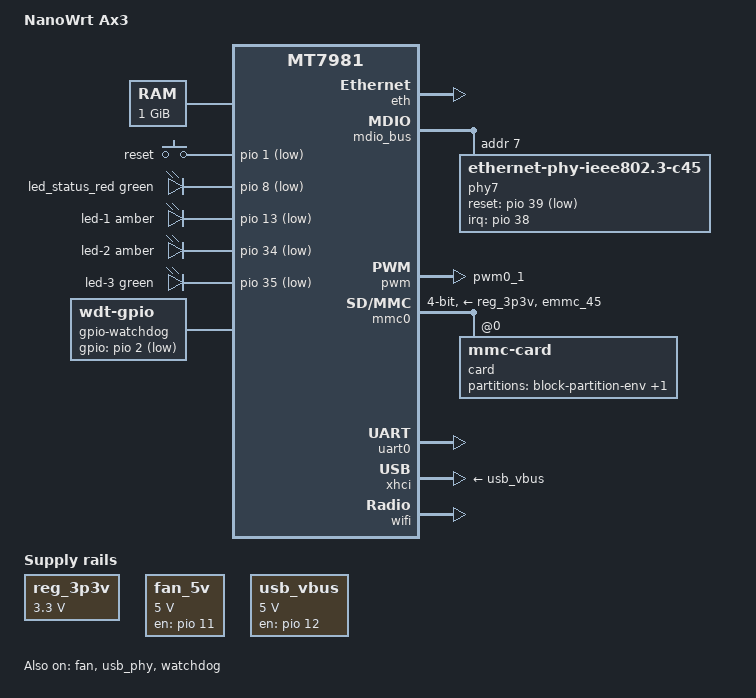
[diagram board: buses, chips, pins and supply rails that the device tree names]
// SPDX-License-Identifier: (GPL-2.0 OR MIT)

/dts-v1/;
#include "mt7981b.dtsi"

/ {
	model = "NanoWrt Ax3";
	compatible = "nanowrt,ax3", "mediatek,mt7981";

	aliases {
		ethernet0 = &gmac1;
		label-mac-device = &gmac0;
		led-boot = &led_status_white;
		led-failsafe = &led_status_red;
		led-running = &led_status_green;
		led-upgrade = &led_status_green;
		serial0 = &uart0;
	};

	chosen {
		stdout-path = "serial0:115200n8";
		rootdisk = <&sd_rootdisk>;
	};

	memory {
		reg = <0 0x40000000 0 0x40000000>;
	};

	gpio-keys {
		compatible = "gpio-keys";

		reset {
			label = "reset";
			linux,code = <KEY_RESTART>;
			gpios = <&pio 1 GPIO_ACTIVE_LOW>;
		};
	};

	gpio-leds {
		compatible = "gpio-leds";

		led_status_red: led-0 {
			color = <LED_COLOR_ID_RED>;
			function = LED_FUNCTION_STATUS;
			gpios = <&pio 5 GPIO_ACTIVE_LOW>;
		};

		led-0 {
			function = LED_FUNCTION_LAN;
			color = <LED_COLOR_ID_GREEN>;
			gpios = <&pio 8 GPIO_ACTIVE_LOW>;
		};

		led-1 {
			function = LED_FUNCTION_LAN;
			color = <LED_COLOR_ID_AMBER>;
			gpios = <&pio 13 GPIO_ACTIVE_LOW>;
		};

		led-2 {
			function = LED_FUNCTION_LAN;
			color = <LED_COLOR_ID_AMBER>;
			gpios = <&pio 34 GPIO_ACTIVE_LOW>;
		};

		led-3 {
			function = LED_FUNCTION_LAN;
			color = <LED_COLOR_ID_GREEN>;
			gpios = <&pio 35 GPIO_ACTIVE_LOW>;
		};
	};

	reg_3p3v: regulator-3p3v {
		compatible = "regulator-fixed";
		regulator-name = "fixed-3.3V";
		regulator-min-microvolt = <3300000>;
		regulator-max-microvolt = <3300000>;
		regulator-boot-on;
		regulator-always-on;
	};

	fan_5v: regulator-fan-5v {
		compatible = "regulator-fixed";
		regulator-name = "fan";
		regulator-min-microvolt = <5000000>;
		regulator-max-microvolt = <5000000>;
		gpios = <&pio 11 GPIO_ACTIVE_HIGH>;
		enable-active-high;
		regulator-boot-on;
	};

	usb_vbus: regulator-usb-vbus {
		compatible = "regulator-fixed";
		regulator-name = "usb_vbus";
		regulator-min-microvolt = <5000000>;
		regulator-max-microvolt = <5000000>;
		gpios = <&pio 12 GPIO_ACTIVE_HIGH>;
		enable-active-high;
		regulator-boot-on;
	};

	gpio-watchdog {
		compatible = "linux,wdt-gpio";
		gpios = <&pio 2 GPIO_ACTIVE_LOW>;
		hw_algo = "toggle";
		hw_margin_ms = <25000>;
		always-running;
	};
};

&eth {
	pinctrl-names = "default";
	pinctrl-0 = <&mdio_pins>;
	status = "okay";

	gmac0: mac@0 {
		compatible = "mediatek,eth-mac";
		reg = <0>;
		phy-mode = "2500base-x";
		phy-handle = <&phy7>;
	};

	gmac1: mac@1 {
		compatible = "mediatek,eth-mac";
		reg = <1>;
		phy-mode = "gmii";
		phy-handle = <&int_gbe_phy>;
	};
};

&mdio_bus {
	phy7: phy@7 {
		compatible = "ethernet-phy-ieee802.3-c45";
		reg = <7>;
		reset-assert-us = <100000>;
		reset-deassert-us = <100000>;
		reset-gpios = <&pio 39 GPIO_ACTIVE_LOW>;
		interrupts = <38 IRQ_TYPE_LEVEL_LOW>;
		interrupt-parent = <&pio>;
		realtek,aldps-enable;
	};
};

&pio {
	mmc0_pins_default: mmc0-pins-default {
		mux {
			function = "flash";
			groups = "emmc_45";
		};
	};

	mmc0_pins_uhs: mmc0-pins-uhs {
		mux {
			function = "flash";
			groups = "emmc_45";
		};
	};

	spi0_flash_pins: spi0-pins {
		mux {
			function = "spi";
			groups = "spi0", "spi0_wp_hold";
		};

		conf-pu {
			pins = "SPI0_CS", "SPI0_HOLD", "SPI0_WP";
			drive-strength = <MTK_DRIVE_8mA>;
			bias-pull-up = <MTK_PUPD_SET_R1R0_11>;
		};

		conf-pd {
			pins = "SPI0_CLK", "SPI0_MOSI", "SPI0_MISO";
			drive-strength = <MTK_DRIVE_8mA>;
			bias-pull-down = <MTK_PUPD_SET_R1R0_11>;
		};
	};

	spi1_flash_pins: spi1-pins {
		mux {
			function = "spi";
			groups = "spi1_1";
		};

		conf-pu {
			pins = "SPI1_CS";
			drive-strength = <MTK_DRIVE_8mA>;
			bias-pull-up = <MTK_PUPD_SET_R1R0_11>;
		};

		conf-pd {
			pins = "SPI1_CLK", "SPI1_MOSI", "SPI1_MISO";
			drive-strength = <MTK_DRIVE_8mA>;
			bias-pull-down = <MTK_PUPD_SET_R1R0_11>;
		};
	};

	spi2_flash_pins: spi2-pins {
		mux {
			function = "spi";
			groups = "spi2";
		};

		conf-pu {
			pins = "SPI2_CS", "SPI2_WP";
			drive-strength = <MTK_DRIVE_8mA>;
			bias-pull-up = <MTK_PUPD_SET_R1R0_11>;
		};

		conf-pd {
			pins = "SPI2_CLK", "SPI2_MOSI", "SPI2_MISO";
			drive-strength = <MTK_DRIVE_8mA>;
			bias-pull-down = <MTK_PUPD_SET_R1R0_11>;
		};
	};

	pwm_pins: pwm0-pins {
		mux {
			function = "pwm";
			groups = "pwm0_1";
		};
	}; 
};

&pwm {
	pinctrl-names = "default";
	pinctrl-0 = <&pwm_pins>;
	status = "okay";
};

&fan {
	pwms = <&pwm 0 40000 0>;
	fan-supply = <&fan_5v>;
	interrupt-parent = <&pio>;
	interrupts = <10 IRQ_TYPE_EDGE_RISING>;
	status = "okay";
};

&mmc0 {
	pinctrl-names = "default", "state_uhs";
	pinctrl-0 = <&mmc0_pins_default>;
	pinctrl-1 = <&mmc0_pins_uhs>;
	bus-width = <4>;
	cap-sd-highspeed;
	max-frequency = <52000000>;
	vmmc-supply = <&reg_3p3v>;
	vqmmc-supply = <&reg_3p3v>;
	#address-cells = <1>;
	#size-cells = <1>;
	status = "okay";

	card@0 {
		compatible = "mmc-card";
		reg = <0>;

		block {
			compatible = "block-device";

			partitions {
				block-partition-env {
					partname = "ubootenv";

					nvmem-layout {
						compatible = "u-boot,env";
					};
				};

				sd_rootdisk: production {
					partname = "production";
				};
			};
		};
	};
};

&uart0 {
	status = "okay";
};

&usb_phy {
	status = "okay";
};

&xhci {
	vbus-supply = <&usb_vbus>;
	status = "okay";
};

&watchdog {
	status = "okay";
};

&wifi {
	status = "okay";
};

&sgmiisys0 {
	/delete-node/ mediatek,pnswap;
};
